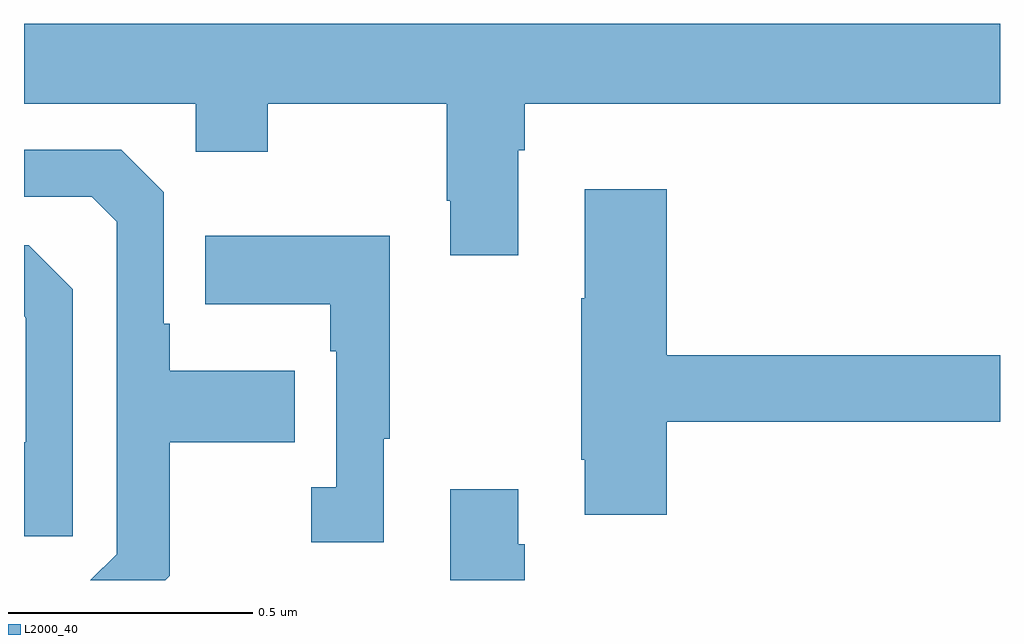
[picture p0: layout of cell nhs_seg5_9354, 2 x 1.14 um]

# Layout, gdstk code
import gdstk
lib = gdstk.Library(unit=1e-6, precision=1e-09)
def P(c, l, *ps):  # polygons
    for p in ps: c.add(gdstk.Polygon(p, *l))
L2000_40 = (2000, 40)

nhs_seg5_9354 = lib.new_cell('nhs_seg5_9354')
P(nhs_seg5_9354, L2000_40, [(234.013,840.68),(234.026,840.68),(234.026,840.776),(235,840.776),(235,840.94),(233,840.94),(233,840.776),(233.352,840.776),(233.352,840.677),(233.499,840.677),(233.499,840.776),(233.866,840.776),(233.866,840.577),(233.873,840.577),(233.873,840.465),(234.013,840.465)],
  [(233.299,839.809),(233.299,840.082),(233.555,840.082),(233.555,840.229),(233.299,840.229),(233.299,840.325),(233.286,840.325),(233.286,840.594),(233.199,840.681),(233,840.681),(233,840.585),(233.139,840.585),(233.19,840.534),(233.19,839.853),(233.136,839.799),(233.289,839.799)],
  [(234.317,840.124),(235,840.124),(235,840.26),(234.317,840.26),(234.317,840.601),(234.149,840.601),(234.149,840.377),(234.142,840.377),(234.142,840.046),(234.149,840.046),(234.149,839.934),(234.317,839.934)],
  [(233.737,840.089),(233.749,840.089),(233.749,840.505),(233.371,840.505),(233.371,840.365),(233.628,840.365),(233.628,840.269),(233.64,840.269),(233.64,839.99),(233.589,839.99),(233.589,839.877),(233.737,839.877)],
  [(233.1,840.396),(233.01,840.486),(233,840.486),(233,840.34),(233.004,840.336),(233.004,840.082),(233,840.082),(233,839.889),(233.1,839.889)],
  [(234.026,839.873),(234.013,839.873),(234.013,839.986),(233.873,839.986),(233.873,839.799),(234.026,839.799)])

lib.write_gds('nhs_seg5_9354.gds')
